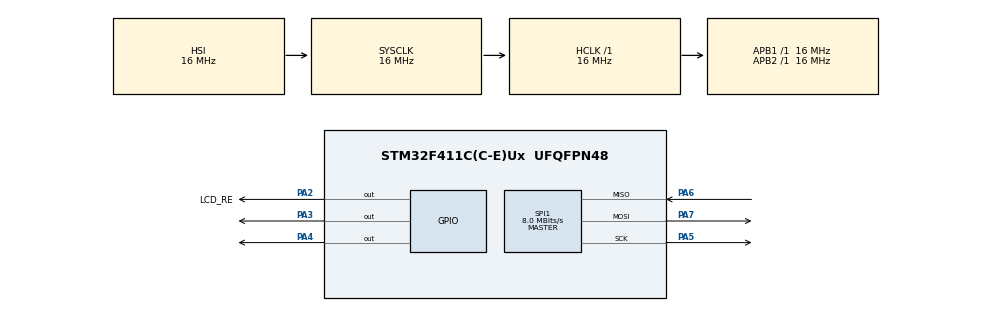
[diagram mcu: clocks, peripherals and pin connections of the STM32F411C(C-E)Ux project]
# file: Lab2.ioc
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Mcu.Family=STM32F4
Mcu.Name=STM32F411C(C-E)Ux
Mcu.Package=UFQFPN48
NVIC.PriorityGroup=NVIC_PRIORITYGROUP_4
PA2.GPIO_Label=LCD_RE
PA2.GPIO_Speed=GPIO_SPEED_FREQ_HIGH
PA2.PinState=GPIO_PIN_SET
PA2.Signal=GPIO_Output
PA3.GPIO_Speed=GPIO_SPEED_FREQ_HIGH
PA3.PinState=GPIO_PIN_SET
PA3.Signal=GPIO_Output
PA4.GPIO_Speed=GPIO_SPEED_FREQ_HIGH
PA4.PinState=GPIO_PIN_SET
PA4.Signal=GPIO_Output
PA5.Mode=Full_Duplex_Master
PA5.Signal=SPI1_SCK
PA6.Mode=Full_Duplex_Master
PA6.Signal=SPI1_MISO
PA7.Mode=Full_Duplex_Master
PA7.Signal=SPI1_MOSI
ProjectManager.HeapSize=0x200
ProjectManager.StackSize=0x400
ProjectManager.TargetToolchain=STM32CubeIDE
RCC.AHBFreq_Value=16000000
RCC.APB1Freq_Value=16000000
RCC.APB2Freq_Value=16000000
RCC.CortexFreq_Value=16000000
RCC.HSE_VALUE=25000000
RCC.HSI_VALUE=16000000
RCC.LSE_VALUE=32768
RCC.SYSCLKFreq_VALUE=16000000
RCC.VCOOutputFreq_Value=192000000
SPI1.CalculateBaudRate=8.0 MBits/s
SPI1.Direction=SPI_DIRECTION_2LINES
SPI1.Mode=SPI_MODE_MASTER
SPI1.VirtualType=VM_MASTER
board=custom

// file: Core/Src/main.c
/* USER CODE BEGIN Header */
/**
  ******************************************************************************
  * @file           : main.c
  * @brief          : Main program body
  ******************************************************************************
  * @attention
  *
  * <h2><center>&copy; Copyright (c) 2026 STMicroelectronics.
  * All rights reserved.</center></h2>
  *
  * This software component is licensed by ST under BSD 3-Clause license,
  * the "License"; You may not use this file except in compliance with the
  * License. You may obtain a copy of the License at:
  *                        opensource.org/licenses/BSD-3-Clause
  *
  ******************************************************************************
  */
/* USER CODE END Header */
#include "main.h"
#include "st7735.h"
#include "fonts.h"
#include <stdlib.h>
#include <math.h>

SPI_HandleTypeDef hspi1;

void SystemClock_Config(void);
static void MX_GPIO_Init(void);
static void MX_SPI1_Init(void);

/* USER CODE BEGIN 0 */

// 1. Hàm Distance
int32_t Distance(int32_t x1, int32_t y1, int32_t x2, int32_t y2 ){
	int32_t dx = abs(x1-x2);
	int32_t dy = abs(y1-y2);
	return (dx*dx + dy*dy);
}

// 2. Hàm Overlab
int32_t Overlab(int32_t x1, int32_t y1, int32_t w1, int32_t h1,
        int32_t x2, int32_t y2, int32_t w2, int32_t h2){
	int32_t right1  = x1 + w1 - 1;
	int32_t top1    = y1 - h1 + 1;
	int32_t right2  = x2 + w2 - 1;
	int32_t top2    = y2 - h2 + 1;

	if (right1 < x2 || x1 > right2 || y1 < top2 || top1 > y2){
	   return 0;
	}
	return 1;
}

// 3. Hàm SayHello
const char* Hello[4] = {
    "Hello  ",
    "Hola!  ",
    "Olap   ",
    "All    "
};

void SayHello(uint32_t language) {
    if (language > 3) return;
    ST7735_WriteString(10, 10 + (language * 15),
    		(char*)Hello[language], Font_5x7,
			ST7735_YELLOW, ST7735_BLACK);
}

/* USER CODE END 0 */

int main(void)
{

  /* MCU Configuration--------------------------------------------------------*/

  /* Reset of all peripherals, Initializes the Flash interface and the Systick. */
  HAL_Init();

  /* Configure the system clock */
  SystemClock_Config();

  /* Initialize all configured peripherals */
  MX_GPIO_Init();
  MX_SPI1_Init();
  /* USER CODE BEGIN 2 */
  ST7735_Init();
  ST7735_FillScreen(ST7735_BLACK);// Xóa màn hình nền đen

  // Gọi lần lượt để hiển thị lên màn hình
  SayHello(0);
  SayHello(1);
  SayHello(2);
  SayHello(3);

  /* USER CODE END 2 */

  /* Infinite loop */
  while (1)
  {

  }
}

void SystemClock_Config(void)
{
  RCC_OscInitTypeDef RCC_OscInitStruct = {0};
  RCC_ClkInitTypeDef RCC_ClkInitStruct = {0};

  /** Configure the main internal regulator output voltage
  */
  __HAL_RCC_PWR_CLK_ENABLE();
  __HAL_PWR_VOLTAGESCALING_CONFIG(PWR_REGULATOR_VOLTAGE_SCALE1);
  /** Initializes the RCC Oscillators according to the specified parameters
  * in the RCC_OscInitTypeDef structure.
  */
  RCC_OscInitStruct.OscillatorType = RCC_OSCILLATORTYPE_HSI;
  RCC_OscInitStruct.HSIState = RCC_HSI_ON;
  RCC_OscInitStruct.HSICalibrationValue = RCC_HSICALIBRATION_DEFAULT;
  RCC_OscInitStruct.PLL.PLLState = RCC_PLL_NONE;
  if (HAL_RCC_OscConfig(&RCC_OscInitStruct) != HAL_OK)
  {
    Error_Handler();
  }
  /** Initializes the CPU, AHB and APB buses clocks
  */
  RCC_ClkInitStruct.ClockType = RCC_CLOCKTYPE_HCLK|RCC_CLOCKTYPE_SYSCLK
                              |RCC_CLOCKTYPE_PCLK1|RCC_CLOCKTYPE_PCLK2;
  RCC_ClkInitStruct.SYSCLKSource = RCC_SYSCLKSOURCE_HSI;
  RCC_ClkInitStruct.AHBCLKDivider = RCC_SYSCLK_DIV1;
  RCC_ClkInitStruct.APB1CLKDivider = RCC_HCLK_DIV1;
  RCC_ClkInitStruct.APB2CLKDivider = RCC_HCLK_DIV1;

  if (HAL_RCC_ClockConfig(&RCC_ClkInitStruct, FLASH_LATENCY_0) != HAL_OK)
  {
    Error_Handler();
  }
}

static void MX_SPI1_Init(void)
{

  /* SPI1 parameter configuration*/
  hspi1.Instance = SPI1;
  hspi1.Init.Mode = SPI_MODE_MASTER;
  hspi1.Init.Direction = SPI_DIRECTION_2LINES;
  hspi1.Init.DataSize = SPI_DATASIZE_8BIT;
  hspi1.Init.CLKPolarity = SPI_POLARITY_LOW;
  hspi1.Init.CLKPhase = SPI_PHASE_1EDGE;
  hspi1.Init.NSS = SPI_NSS_SOFT;
  hspi1.Init.BaudRatePrescaler = SPI_BAUDRATEPRESCALER_2;
  hspi1.Init.FirstBit = SPI_FIRSTBIT_MSB;
  hspi1.Init.TIMode = SPI_TIMODE_DISABLE;
  hspi1.Init.CRCCalculation = SPI_CRCCALCULATION_DISABLE;
  hspi1.Init.CRCPolynomial = 10;
  if (HAL_SPI_Init(&hspi1) != HAL_OK)
  {
    Error_Handler();
  }

}

static void MX_GPIO_Init(void)
{
  GPIO_InitTypeDef GPIO_InitStruct = {0};

  /* GPIO Ports Clock Enable */
  __HAL_RCC_GPIOA_CLK_ENABLE();

  /*Configure GPIO pin Output Level */
  HAL_GPIO_WritePin(GPIOA, LCD_RE_Pin|GPIO_PIN_3|GPIO_PIN_4, GPIO_PIN_SET);

  /*Configure GPIO pins : LCD_RE_Pin PA3 PA4 */
  GPIO_InitStruct.Pin = LCD_RE_Pin|GPIO_PIN_3|GPIO_PIN_4;
  GPIO_InitStruct.Mode = GPIO_MODE_OUTPUT_PP;
  GPIO_InitStruct.Pull = GPIO_NOPULL;
  GPIO_InitStruct.Speed = GPIO_SPEED_FREQ_HIGH;
  HAL_GPIO_Init(GPIOA, &GPIO_InitStruct);

}

void Error_Handler(void)
{
  __disable_irq();
  while (1)
  {
  }
}

/************************ (C) COPYRIGHT STMicroelectronics *****END OF FILE****/
